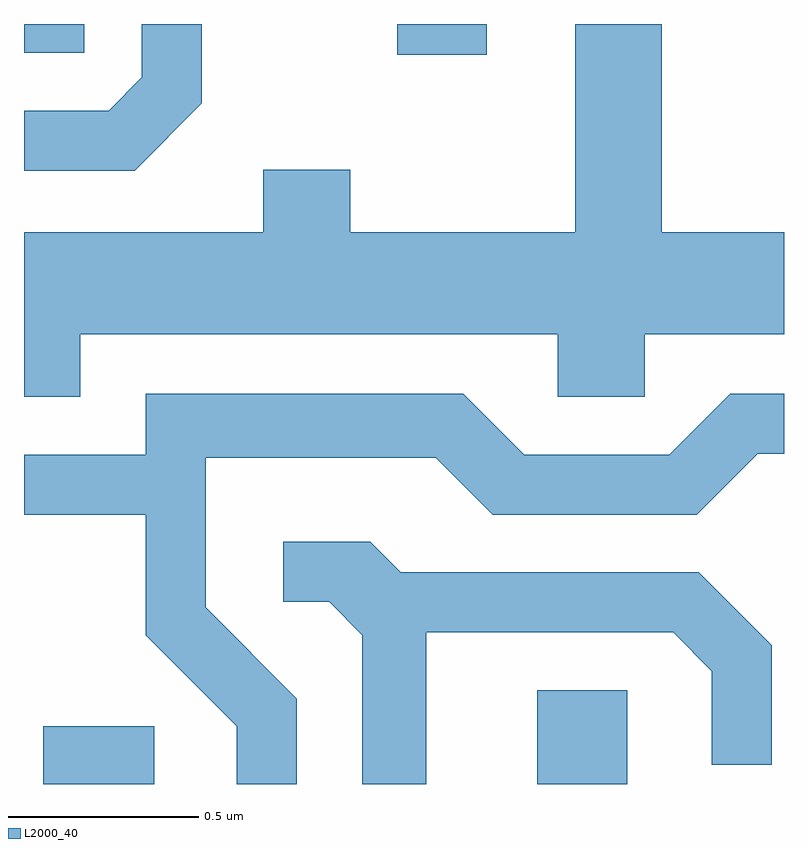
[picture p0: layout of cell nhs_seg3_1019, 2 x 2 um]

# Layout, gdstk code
import gdstk
lib = gdstk.Library(unit=1e-6, precision=1e-09)
def R(c, l, rs):  # rectangles x0, y0, x1, y1
    for r in rs: c.add(gdstk.rectangle(r[:2], r[2:], *l))
def P(c, l, *ps):  # polygons
    for p in ps: c.add(gdstk.Polygon(p, *l))
L2000_40 = (2000, 40)

nhs_seg3_1019 = lib.new_cell('nhs_seg3_1019')
R(nhs_seg3_1019, L2000_40, [(192.661,1175.892,192.954,1176.044), (193.961,1175.892,194.199,1176.139), (193.593,1177.811,193.829,1177.892), (192.611,1177.816,192.769,1177.892)])
P(nhs_seg3_1019, L2000_40, [(192.759,1177.076),(194.016,1177.076),(194.016,1176.911),(194.244,1176.911),(194.244,1177.076),(194.611,1177.076),(194.611,1177.344),(194.289,1177.344),(194.289,1177.892),(194.061,1177.892),(194.061,1177.344),(193.469,1177.344),(193.469,1177.509),(193.241,1177.509),(193.241,1177.344),(192.611,1177.344),(192.611,1176.911),(192.759,1176.911)],
  [(193.079,1177.684),(193.079,1177.892),(192.921,1177.892),(192.921,1177.752),(192.834,1177.664),(192.611,1177.664),(192.611,1177.506),(192.902,1177.506)],
  [(193.329,1176.117),(193.089,1176.357),(193.089,1176.751),(193.694,1176.751),(193.844,1176.601),(194.382,1176.601),(194.542,1176.761),(194.611,1176.761),(194.611,1176.919),(194.469,1176.919),(194.309,1176.759),(193.927,1176.759),(193.767,1176.919),(192.931,1176.919),(192.931,1176.759),(192.611,1176.759),(192.611,1176.601),(192.931,1176.601),(192.931,1176.284),(193.171,1176.044),(193.171,1175.892),(193.329,1175.892)],
  [(193.669,1176.291),(194.319,1176.291),(194.421,1176.189),(194.421,1175.943),(194.579,1175.943),(194.579,1176.257),(194.387,1176.449),(193.602,1176.449),(193.522,1176.529),(193.293,1176.529),(193.293,1176.371),(193.414,1176.371),(193.501,1176.284),(193.501,1175.892),(193.669,1175.892)])

lib.write_gds('nhs_seg3_1019.gds')
